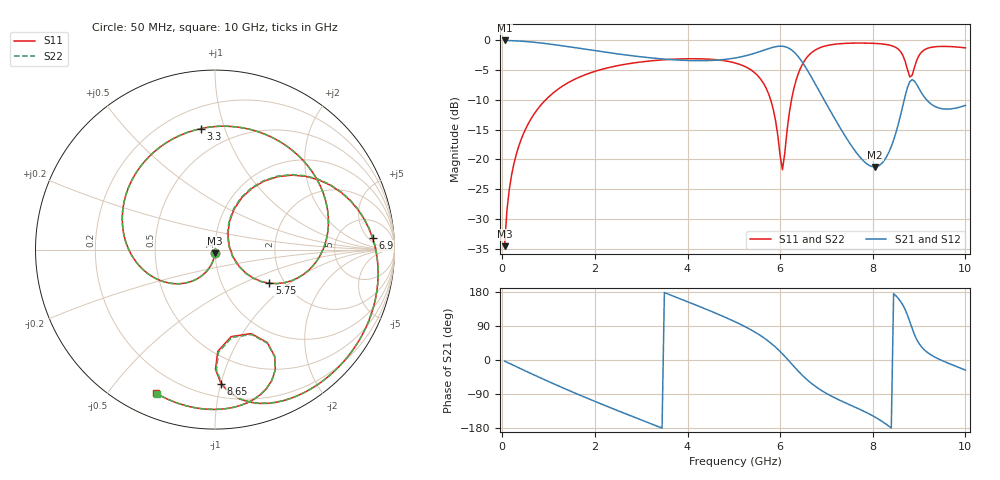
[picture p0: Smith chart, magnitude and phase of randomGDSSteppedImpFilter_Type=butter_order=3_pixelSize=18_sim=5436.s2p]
! freq	dB(S11)	phase(S11)	dB(S12)	phase(S12)
!  dB(S21)	phase(S21)	dB(S22)	phase(S22)
!S-par simulation data
#  GHz  S  DB  R 50
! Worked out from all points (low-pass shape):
!   200 points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, 50 MHz to 10 GHz, reference 50 ohm
!   highest |S21| = -0.01 dB at 50 MHz (marker M1); lowest = -21.2 dB at 8.05 GHz (marker M2)
!   |S21| within 3 dB of the highest: start of sweep to 3.304 GHz; 4.984 GHz to 6.418 GHz (1.434 GHz wide, 25.1 % of centre)
!   lowest |S11| = -34.6 dB at 50 MHz (marker M3), VSWR 1.04, Z = 49.9 - j1.86 ohm
!   |S11| at or under -10 dB: start of sweep to 934.8 MHz; 5.796 GHz to 6.245 GHz (448.8 MHz wide, 7.46 % of centre)
!   |S22| runs from -34.6 to -0.4 dB; largest |S21 - S12| = 0
!   S11 on the Smith chart (normalised r, x): 50 MHz: 1.00, -0.04; 3.3 GHz: 0.33, +0.83; 5.75 GHz: 1.68, -0.72; 6.9 GHz: 12, +7; 8.65 GHz: 0.30, -1.00; 10 GHz: 0.10, -0.67
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0.05  -34.57 -92.7  -0.01 -3.0  -0.01 -3.0  -34.57 -92.7
0.2  -22.65 -101.8  -0.04 -11.7  -0.04 -11.7  -22.65 -101.8
0.5  -14.94 -119.5  -0.18 -28.9  -0.18 -28.9  -14.94 -119.5
1.1  -8.82 -153.0  -0.69 -62.3  -0.69 -62.3  -8.82 -153.0
1.75  -5.89 172.6  -1.43 -96.6  -1.43 -96.6  -5.89 172.8
2.55  -4.15 132.8  -2.33 -136.4  -2.33 -136.4  -4.15 133.0
3.3  -3.37 96.8  -3.01 -172.5  -3.01 -172.5  -3.37 97.0
3.4  -3.31 92.0  -3.08 -177.3  -3.08 -177.3  -3.30 92.2
4.15  -3.08 56.3  -3.40 146.5  -3.40 146.5  -3.08 56.4
5.05  -3.84 11.0  -2.92 99.6  -2.92 99.6  -3.84 11.1
5.75  -8.97 -31.8  -1.38 49.4  -1.38 49.4  -8.98 -31.9
6.05  -21.73 14.5  -0.98 16.2  -0.98 16.2  -22.00 14.7
6.3  -7.96 58.9  -1.96 -17.3  -1.96 -17.3  -7.97 59.4
6.7  -1.92 19.9  -6.50 -64.0  -6.50 -64.0  -1.92 20.2
6.9  -1.11 4.3  -9.30 -81.0  -9.30 -81.0  -1.11 4.5
8.05  -0.51 -54.4  -21.25 -150.8  -21.25 -150.8  -0.50 -54.2
8.35  -0.77 -68.5  -18.75 -174.8  -18.75 -174.8  -0.77 -68.3
8.65  -2.52 -87.4  -10.95 145.1  -10.95 145.1  -2.50 -87.0
8.85  -5.86 -66.7  -6.60 82.9  -6.60 82.9  -5.78 -66.8
9  -2.51 -63.3  -8.11 43.3  -8.11 43.3  -2.49 -63.4
9.4  -1.03 -85.7  -11.29 3.9  -11.29 3.9  -1.03 -85.6
10  -1.26 -112.3  -10.91 -26.7  -10.91 -26.7  -1.26 -112.1
